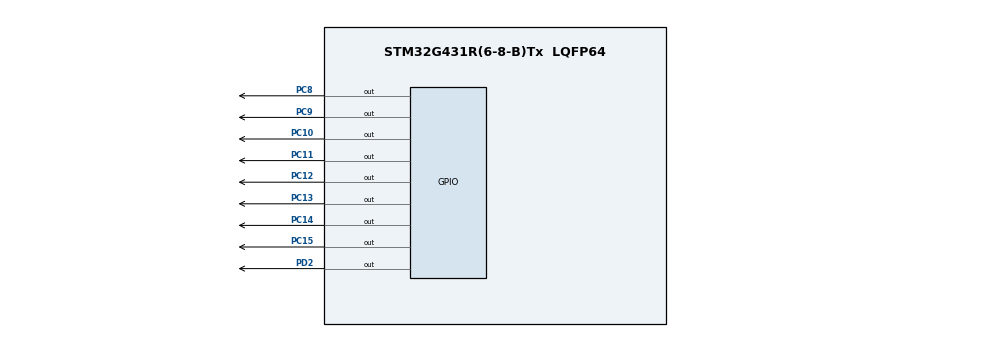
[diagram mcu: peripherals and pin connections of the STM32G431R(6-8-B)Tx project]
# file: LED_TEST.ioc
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Mcu.Family=STM32G4
Mcu.Name=STM32G431R(6-8-B)Tx
Mcu.Package=LQFP64
NVIC.PriorityGroup=NVIC_PRIORITYGROUP_4
PC10.Signal=GPIO_Output
PC11.Signal=GPIO_Output
PC12.Signal=GPIO_Output
PC13.Signal=GPIO_Output
PC14-OSC32_IN.Signal=GPIO_Output
PC15-OSC32_OUT.Signal=GPIO_Output
PC8.Signal=GPIO_Output
PC9.Signal=GPIO_Output
PD2.Signal=GPIO_Output
PF0-OSC_IN.Mode=HSE-External-Oscillator
PF0-OSC_IN.Signal=RCC_OSC_IN
PF1-OSC_OUT.Mode=HSE-External-Oscillator
PF1-OSC_OUT.Signal=RCC_OSC_OUT
ProjectManager.HeapSize=0x200
ProjectManager.StackSize=0x400
ProjectManager.TargetToolchain=MDK-ARM V5.27
RCC.ADC12Freq_Value=80000000
RCC.AHBFreq_Value=80000000
RCC.APB1Freq_Value=80000000
RCC.APB1TimFreq_Value=80000000
RCC.APB2Freq_Value=80000000
RCC.APB2TimFreq_Value=80000000
RCC.CortexFreq_Value=80000000
RCC.EXTERNAL_CLOCK_VALUE=12288000
RCC.HCLKFreq_Value=80000000
RCC.HSE_VALUE=24000000
RCC.HSI48_VALUE=48000000
RCC.HSI_VALUE=16000000
RCC.LSE_VALUE=32768
RCC.PLLM=RCC_PLLM_DIV2
RCC.PLLN=20
RCC.SYSCLKFreq_VALUE=80000000
RCC.SYSCLKSource=RCC_SYSCLKSOURCE_PLLCLK
RCC.USBFreq_Value=80000000
RCC.VCOOutputFreq_Value=160000000
VP_SYS_VS_DBSignals.Mode=DisableDeadBatterySignals
board=custom

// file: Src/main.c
/* USER CODE BEGIN Header */
/**
  ******************************************************************************
  * @file           : main.c
  * @brief          : Main program body
  ******************************************************************************
  * @attention
  *
  * <h2><center>&copy; Copyright (c) 2020 STMicroelectronics.
  * All rights reserved.</center></h2>
  *
  * This software component is licensed by ST under BSD 3-Clause license,
  * the "License"; You may not use this file except in compliance with the
  * License. You may obtain a copy of the License at:
  *                        opensource.org/licenses/BSD-3-Clause
  *
  ******************************************************************************
  */
/* USER CODE END Header */

#include "main.h"

void SystemClock_Config(void);
static void MX_GPIO_Init(void);

/* USER CODE BEGIN 0 */
#define DELAY_TIME	100

/*
*/
void LED_TEST(void)
{
	while(1)
	{
		LL_GPIO_TogglePin(GPIOC, LL_GPIO_PIN_8);
		LL_GPIO_SetOutputPin(GPIOD, LL_GPIO_PIN_2);
		__nop();__nop();__nop();
		LL_GPIO_ResetOutputPin(GPIOD, LL_GPIO_PIN_2);
		LL_mDelay(DELAY_TIME);

		LL_GPIO_TogglePin(GPIOC, LL_GPIO_PIN_9);
		LL_GPIO_SetOutputPin(GPIOD, LL_GPIO_PIN_2);
		__nop();__nop();__nop();
		LL_GPIO_ResetOutputPin(GPIOD, LL_GPIO_PIN_2);
		LL_mDelay(DELAY_TIME);

		LL_GPIO_TogglePin(GPIOC, LL_GPIO_PIN_10);
		LL_GPIO_SetOutputPin(GPIOD, LL_GPIO_PIN_2);
		__nop();__nop();__nop();
		LL_GPIO_ResetOutputPin(GPIOD, LL_GPIO_PIN_2);
		LL_mDelay(DELAY_TIME);

		LL_GPIO_TogglePin(GPIOC, LL_GPIO_PIN_11);
		LL_GPIO_SetOutputPin(GPIOD, LL_GPIO_PIN_2);
		__nop();__nop();__nop();
		LL_GPIO_ResetOutputPin(GPIOD, LL_GPIO_PIN_2);
		LL_mDelay(DELAY_TIME);

		LL_GPIO_TogglePin(GPIOC, LL_GPIO_PIN_12);
		LL_GPIO_SetOutputPin(GPIOD, LL_GPIO_PIN_2);
		__nop();__nop();__nop();
		LL_GPIO_ResetOutputPin(GPIOD, LL_GPIO_PIN_2);
		LL_mDelay(DELAY_TIME);

		LL_GPIO_TogglePin(GPIOC, LL_GPIO_PIN_13);
		LL_GPIO_SetOutputPin(GPIOD, LL_GPIO_PIN_2);
		__nop();__nop();__nop();
		LL_GPIO_ResetOutputPin(GPIOD, LL_GPIO_PIN_2);
		LL_mDelay(DELAY_TIME);

		LL_GPIO_TogglePin(GPIOC, LL_GPIO_PIN_14);
		LL_GPIO_SetOutputPin(GPIOD, LL_GPIO_PIN_2);
		__nop();__nop();__nop();
		LL_GPIO_ResetOutputPin(GPIOD, LL_GPIO_PIN_2);
		LL_mDelay(DELAY_TIME);

		LL_GPIO_TogglePin(GPIOC, LL_GPIO_PIN_15);
		LL_GPIO_SetOutputPin(GPIOD, LL_GPIO_PIN_2);
		__nop();__nop();__nop();
		LL_GPIO_ResetOutputPin(GPIOD, LL_GPIO_PIN_2);
		LL_mDelay(DELAY_TIME);
	}
}

/* USER CODE END 0 */

int main(void)
{

  /* MCU Configuration--------------------------------------------------------*/

  /* Reset of all peripherals, Initializes the Flash interface and the Systick. */

  LL_APB2_GRP1_EnableClock(LL_APB2_GRP1_PERIPH_SYSCFG);
  LL_APB1_GRP1_EnableClock(LL_APB1_GRP1_PERIPH_PWR);

  NVIC_SetPriorityGrouping(NVIC_PRIORITYGROUP_4);

  /* System interrupt init*/

  /** Disable the internal Pull-Up in Dead Battery pins of UCPD peripheral
  */
  LL_PWR_DisableDeadBatteryPD();

  /* Configure the system clock */
  SystemClock_Config();

  /* Initialize all configured peripherals */
  MX_GPIO_Init();

  /* Infinite loop */
  while (1)
  {
		LED_TEST();
  }
}

void SystemClock_Config(void)
{
  LL_FLASH_SetLatency(LL_FLASH_LATENCY_3);

   if(LL_FLASH_GetLatency() != LL_FLASH_LATENCY_3)
  {
    Error_Handler();
  }
  LL_PWR_SetRegulVoltageScaling(LL_PWR_REGU_VOLTAGE_SCALE1);
  LL_RCC_HSI_Enable();

   /* Wait till HSI is ready */
  while(LL_RCC_HSI_IsReady() != 1)
  {

  }
  LL_RCC_HSI_SetCalibTrimming(64);
  LL_RCC_PLL_ConfigDomain_SYS(LL_RCC_PLLSOURCE_HSI, LL_RCC_PLLM_DIV_2, 20, LL_RCC_PLLR_DIV_2);
  LL_RCC_PLL_EnableDomain_SYS();
  LL_RCC_PLL_Enable();

   /* Wait till PLL is ready */
  while(LL_RCC_PLL_IsReady() != 1)
  {

  }
  LL_RCC_SetSysClkSource(LL_RCC_SYS_CLKSOURCE_PLL);

   /* Wait till System clock is ready */
  while(LL_RCC_GetSysClkSource() != LL_RCC_SYS_CLKSOURCE_STATUS_PLL)
  {

  }
  /* Set AHB prescaler*/
  LL_RCC_SetAHBPrescaler(LL_RCC_SYSCLK_DIV_1);
  LL_RCC_SetAPB1Prescaler(LL_RCC_APB1_DIV_1);
  LL_RCC_SetAPB2Prescaler(LL_RCC_APB1_DIV_1);

  LL_Init1msTick(80000000);

  LL_SetSystemCoreClock(80000000);
}

static void MX_GPIO_Init(void)
{
  LL_GPIO_InitTypeDef GPIO_InitStruct = {0};

  /* GPIO Ports Clock Enable */
  LL_AHB2_GRP1_EnableClock(LL_AHB2_GRP1_PERIPH_GPIOC);
  LL_AHB2_GRP1_EnableClock(LL_AHB2_GRP1_PERIPH_GPIOF);
  LL_AHB2_GRP1_EnableClock(LL_AHB2_GRP1_PERIPH_GPIOD);

  /**/
  LL_GPIO_ResetOutputPin(GPIOC, LL_GPIO_PIN_13);

  /**/
  LL_GPIO_ResetOutputPin(GPIOC, LL_GPIO_PIN_14);

  /**/
  LL_GPIO_ResetOutputPin(GPIOC, LL_GPIO_PIN_15);

  /**/
  LL_GPIO_ResetOutputPin(GPIOC, LL_GPIO_PIN_8);

  /**/
  LL_GPIO_ResetOutputPin(GPIOC, LL_GPIO_PIN_9);

  /**/
  LL_GPIO_ResetOutputPin(GPIOC, LL_GPIO_PIN_10);

  /**/
  LL_GPIO_ResetOutputPin(GPIOC, LL_GPIO_PIN_11);

  /**/
  LL_GPIO_ResetOutputPin(GPIOC, LL_GPIO_PIN_12);

  /**/
  LL_GPIO_ResetOutputPin(GPIOD, LL_GPIO_PIN_2);

  /**/
  GPIO_InitStruct.Pin = LL_GPIO_PIN_13;
  GPIO_InitStruct.Mode = LL_GPIO_MODE_OUTPUT;
  GPIO_InitStruct.Speed = LL_GPIO_SPEED_FREQ_LOW;
  GPIO_InitStruct.OutputType = LL_GPIO_OUTPUT_PUSHPULL;
  GPIO_InitStruct.Pull = LL_GPIO_PULL_NO;
  LL_GPIO_Init(GPIOC, &GPIO_InitStruct);

  /**/
  GPIO_InitStruct.Pin = LL_GPIO_PIN_14;
  GPIO_InitStruct.Mode = LL_GPIO_MODE_OUTPUT;
  GPIO_InitStruct.Speed = LL_GPIO_SPEED_FREQ_LOW;
  GPIO_InitStruct.OutputType = LL_GPIO_OUTPUT_PUSHPULL;
  GPIO_InitStruct.Pull = LL_GPIO_PULL_NO;
  LL_GPIO_Init(GPIOC, &GPIO_InitStruct);

  /**/
  GPIO_InitStruct.Pin = LL_GPIO_PIN_15;
  GPIO_InitStruct.Mode = LL_GPIO_MODE_OUTPUT;
  GPIO_InitStruct.Speed = LL_GPIO_SPEED_FREQ_LOW;
  GPIO_InitStruct.OutputType = LL_GPIO_OUTPUT_PUSHPULL;
  GPIO_InitStruct.Pull = LL_GPIO_PULL_NO;
  LL_GPIO_Init(GPIOC, &GPIO_InitStruct);

  /**/
  GPIO_InitStruct.Pin = LL_GPIO_PIN_8;
  GPIO_InitStruct.Mode = LL_GPIO_MODE_OUTPUT;
  GPIO_InitStruct.Speed = LL_GPIO_SPEED_FREQ_LOW;
  GPIO_InitStruct.OutputType = LL_GPIO_OUTPUT_PUSHPULL;
  GPIO_InitStruct.Pull = LL_GPIO_PULL_NO;
  LL_GPIO_Init(GPIOC, &GPIO_InitStruct);

  /**/
  GPIO_InitStruct.Pin = LL_GPIO_PIN_9;
  GPIO_InitStruct.Mode = LL_GPIO_MODE_OUTPUT;
  GPIO_InitStruct.Speed = LL_GPIO_SPEED_FREQ_LOW;
  GPIO_InitStruct.OutputType = LL_GPIO_OUTPUT_PUSHPULL;
  GPIO_InitStruct.Pull = LL_GPIO_PULL_NO;
  LL_GPIO_Init(GPIOC, &GPIO_InitStruct);

  /**/
  GPIO_InitStruct.Pin = LL_GPIO_PIN_10;
  GPIO_InitStruct.Mode = LL_GPIO_MODE_OUTPUT;
  GPIO_InitStruct.Speed = LL_GPIO_SPEED_FREQ_LOW;
  GPIO_InitStruct.OutputType = LL_GPIO_OUTPUT_PUSHPULL;
  GPIO_InitStruct.Pull = LL_GPIO_PULL_NO;
  LL_GPIO_Init(GPIOC, &GPIO_InitStruct);

  /**/
  GPIO_InitStruct.Pin = LL_GPIO_PIN_11;
  GPIO_InitStruct.Mode = LL_GPIO_MODE_OUTPUT;
  GPIO_InitStruct.Speed = LL_GPIO_SPEED_FREQ_LOW;
  GPIO_InitStruct.OutputType = LL_GPIO_OUTPUT_PUSHPULL;
  GPIO_InitStruct.Pull = LL_GPIO_PULL_NO;
  LL_GPIO_Init(GPIOC, &GPIO_InitStruct);

  /**/
  GPIO_InitStruct.Pin = LL_GPIO_PIN_12;
  GPIO_InitStruct.Mode = LL_GPIO_MODE_OUTPUT;
  GPIO_InitStruct.Speed = LL_GPIO_SPEED_FREQ_LOW;
  GPIO_InitStruct.OutputType = LL_GPIO_OUTPUT_PUSHPULL;
  GPIO_InitStruct.Pull = LL_GPIO_PULL_NO;
  LL_GPIO_Init(GPIOC, &GPIO_InitStruct);

  /**/
  GPIO_InitStruct.Pin = LL_GPIO_PIN_2;
  GPIO_InitStruct.Mode = LL_GPIO_MODE_OUTPUT;
  GPIO_InitStruct.Speed = LL_GPIO_SPEED_FREQ_LOW;
  GPIO_InitStruct.OutputType = LL_GPIO_OUTPUT_PUSHPULL;
  GPIO_InitStruct.Pull = LL_GPIO_PULL_NO;
  LL_GPIO_Init(GPIOD, &GPIO_InitStruct);

}

void Error_Handler(void)
{
}

/************************ (C) COPYRIGHT STMicroelectronics *****END OF FILE****/
